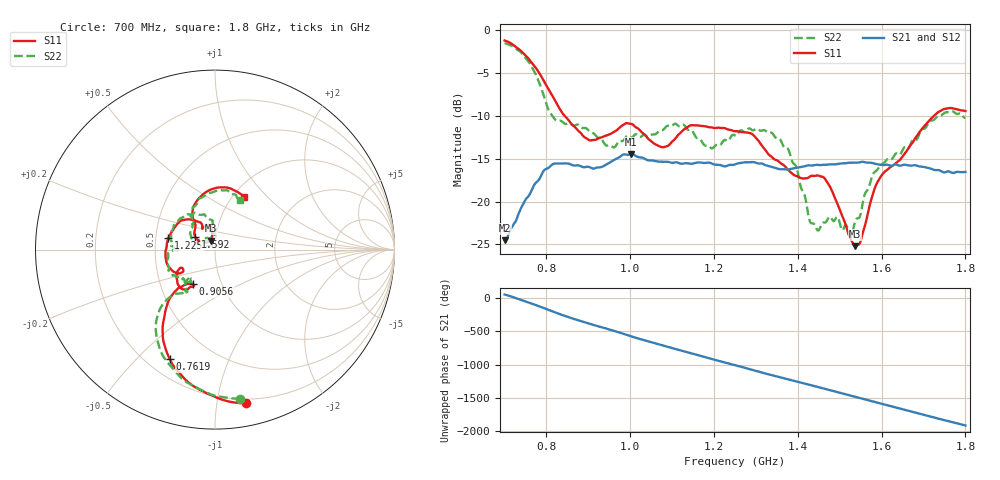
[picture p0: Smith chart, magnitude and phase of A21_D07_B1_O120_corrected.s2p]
! Created with skrf 1.9.0 (http://scikit-rf.org).
# Hz S RI R 50.0
!freq ReS11 ImS11 ReS21 ImS21 ReS12 ImS12 ReS22 ImS22
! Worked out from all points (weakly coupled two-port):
!   1601 points, 700 MHz to 1.8 GHz, reference 50 ohm
!   highest |S21| = -14.45 dB at 1.002 GHz (marker M1); lowest = -24.5 dB at 700.7 MHz (marker M2)
!   lowest |S11| = -25.2 dB at 1.537 GHz (marker M3), VSWR 1.12, Z = 47.4 + j4.66 ohm
!   |S11| at or under -10 dB: 843.6 MHz to 1.724 GHz (880.8 MHz wide, 68.6 % of centre)
!   |S22| runs from -24.1 to -1.5 dB; largest |S21 - S12| = 0.0035
!   S11 on the Smith chart (normalised r, x): 700 MHz: 0.17, -1.21; 761.9 MHz: 0.29, -0.63; 905.6 MHz: 0.73, -0.30; 1.225 GHz: 0.58, +0.08; 1.592 GHz: 0.79, +0.12; 1.8 GHz: 1.13, +0.75
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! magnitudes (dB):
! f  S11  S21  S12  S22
! 700 MHz  -1.2  -24.5  -24.3  -1.5
! 700.7 MHz  -1.2  -24.5  -24.2  -1.5
! 761.9 MHz  -3.6  -18.9  -18.9  -4.0
! 818.2 MHz  -8.0  -15.6  -15.7  -10.3
! 883.6 MHz  -12.1  -15.9  -15.8  -11.3
! 905.6 MHz  -12.9  -16.0  -16.0  -11.9
! 959.2 MHz  -11.9  -15.2  -15.2  -13.7
! 1.002 GHz  -10.9  -14.4  -14.6  -12.5
! 1.067 GHz  -13.5  -15.3  -15.3  -11.8
! 1.144 GHz  -11.1  -15.6  -15.6  -11.6
! 1.225 GHz  -11.4  -15.9  -15.9  -12.8
! 1.25 GHz  -11.8  -15.6  -15.6  -12.3
! 1.357 GHz  -15.4  -16.2  -16.2  -12.7
! 1.396 GHz  -17.0  -16.1  -16.1  -15.9
! 1.434 GHz  -17.0  -15.8  -15.8  -22.5
! 1.471 GHz  -17.8  -15.7  -15.7  -22.0
! 1.526 GHz  -24.3  -15.4  -15.4  -24.1
! 1.537 GHz  -25.2  -15.4  -15.5  -22.3
! 1.592 GHz  -17.5  -15.7  -15.6  -16.1
! 1.617 GHz  -16.1  -15.7  -15.7  -15.0
! 1.733 GHz  -9.6  -16.3  -16.3  -10.1
! 1.8 GHz  -9.4  -16.5  -16.5  -10.2
